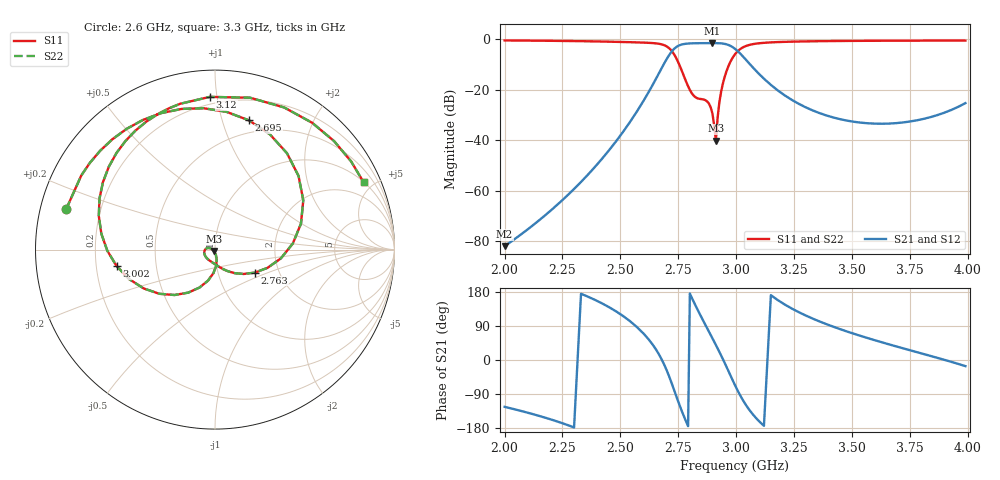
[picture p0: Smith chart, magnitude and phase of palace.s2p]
! Created with skrf 1.12.0 (http://scikit-rf.org).
# Hz S RI R 50.0
!freq ReS11 ImS11 ReS21 ImS21 ReS12 ImS12 ReS22 ImS22
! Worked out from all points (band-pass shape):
!   116 points, 2 GHz to 3.99 GHz, reference 50 ohm
!   highest |S21| = -1.52 dB at 2.897 GHz (marker M1); lowest = -81.9 dB at 2 GHz (marker M2)
!   |S21| within 3 dB of the highest: 2.725 GHz to 3.005 GHz (280 MHz wide, 9.77 % of centre)
!   lowest |S11| = -40.1 dB at 2.913 GHz (marker M3), VSWR 1.02, Z = 49.4 - j0.768 ohm
!   |S11| at or under -10 dB: 2.754 GHz to 2.97 GHz (215.5 MHz wide, 7.53 % of centre)
!   |S22| runs from -40.1 to -0.5 dB; largest |S21 - S12| = 0
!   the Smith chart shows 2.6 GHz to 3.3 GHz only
!   S11 on the Smith chart (normalised r, x): 2.6 GHz: 0.08, +0.13; 2.695 GHz: 0.38, +1.23; 2.763 GHz: 1.50, -0.41; 3.002 GHz: 0.29, -0.08; 3.12 GHz: 0.15, +0.95; 3.3 GHz: 1.02, +4.41
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2e9  0.8215 -0.4738  -4.46e-05 -6.72e-05  -4.46e-05 -6.72e-05  0.8215 -0.4738
2.36e9  -0.1285 -0.9041  -0.00205 0.000471  -0.00205 0.000471  -0.1285 -0.9041
2.48e9  -0.6401 -0.6194  -0.00591 0.00733  -0.00591 0.00733  -0.6401 -0.6194
2.6e9  -0.8296 0.2244  0.021 0.057  0.021 0.057  -0.8296 0.2244
2.665e9  -0.2993 0.7606  0.1982 0.0584  0.1982 0.0584  -0.2993 0.7606
2.695e9  0.1894 0.72  0.3483 -0.1272  0.3483 -0.1272  0.1894 0.72
2.725e9  0.4918 0.2745  0.2317 -0.5503  0.2317 -0.5503  0.4918 0.2745
2.7625e9  0.2217 -0.1283  -0.5063 -0.5966  -0.5063 -0.5966  0.2217 -0.1283
2.815e9  -0.00502 -0.0779  -0.7599 0.342  -0.7599 0.342  -0.00502 -0.0779
2.86e9  -0.0581 -0.0274  -0.1601 0.823  -0.1601 0.823  -0.0581 -0.0274
2.8975e9  -0.0327 0.00927  0.4539 0.7061  0.4539 0.7061  -0.0327 0.00927
2.9125e9  -0.00613 -0.00777  0.6468 0.5341  0.6468 0.5341  -0.00613 -0.00777
2.9275e9  0.00984 -0.056  0.7774 0.3042  0.7774 0.3042  0.00984 -0.056
2.9425e9  -0.00907 -0.1315  0.8221 0.0366  0.8221 0.0366  -0.00907 -0.1315
2.995e9  -0.4781 -0.1645  0.2589 -0.5939  0.2589 -0.5939  -0.4781 -0.1645
3.0025e9  -0.5473 -0.093  0.1486 -0.588  0.1486 -0.588  -0.5473 -0.093
3.0475e9  -0.5915 0.462  -0.2042 -0.3086  -0.2042 -0.3086  -0.5915 0.462
3.12e9  -0.0291 0.8509  -0.1651 -0.0181  -0.1651 -0.0181  -0.0291 0.8509
3.3e9  0.828 0.3748  -0.0209 0.04  -0.0209 0.04  0.828 0.3748
3.33e9  0.8762 0.2576  -0.013 0.037  -0.013 0.037  0.8762 0.2576
3.66e9  0.6042 -0.716  0.0161 0.0142  0.0161 0.0142  0.6042 -0.716
3.99e9  -0.2423 -0.9088  0.0524 -0.0152  0.0524 -0.0152  -0.2423 -0.9088
